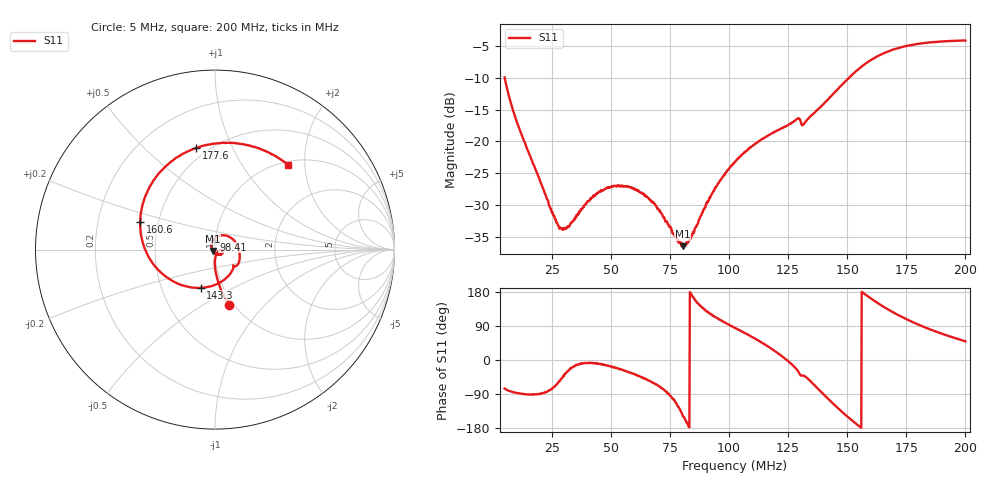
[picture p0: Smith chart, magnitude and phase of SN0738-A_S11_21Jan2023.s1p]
# Hz S DB R 50
! CMT, M5045, 22160017, 22.4.3/2
! Date: 1/21/2023 19:50:09
! Data: Format (Calibration Info)
! Freq	S11:dB/Ang(F1)
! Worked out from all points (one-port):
!   1001 points, 5 MHz to 200 MHz, reference 50 ohm
!   lowest |S11| = -36.5 dB at 80.47 MHz (marker M1), VSWR 1.03, Z = 48.7 - j0.772 ohm
!   |S11| at or under -10 dB: 5.041 MHz to 150.7 MHz (145.7 MHz wide, 187 % of centre)
!   S11 on the Smith chart (normalised r, x): 5 MHz: 0.96, -0.66; 98.41 MHz: 0.98, +0.11; 143.3 MHz: 0.78, -0.35; 160.6 MHz: 0.40, +0.15; 177.6 MHz: 0.43, +0.74; 200 MHz: 1.06, +1.64
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5000000  -9.92 -75.3
8705000  -15.29 -84.9
1.319e7  -19.89 -89.7
2.4695e7  -30.72 -77.6
2.9375e7  -33.90 -46.9
3.1715e7  -33.44 -29.4
4.439e7  -28.07 -9.7
5.375e7  -27.09 -24.8
6.077e7  -27.73 -39.8
6.779e7  -29.55 -60.1
7.8125e7  -35.34 -119.4
8.0465e7  -36.52 -148.0
8.3195e7  -35.61 -177.6
9.119e7  -29.40 126.5
9.8405e7  -24.99 98.4
1.025e8  -23.23 84.3
1.15955e8  -19.22 37.6
1.26875e8  -17.00 -13.4
1.3175e8  -17.19 -42.0
1.37015e8  -15.14 -72.2
1.43255e8  -12.86 -110.7
1.5125e8  -9.78 -155.7
1.6061e8  -7.05 159.9
1.6685e8  -5.90 135.1
1.75625e8  -4.93 106.1
1.77575e8  -4.79 100.4
1.87325e8  -4.33 75.6
2e8  -4.12 49.3
